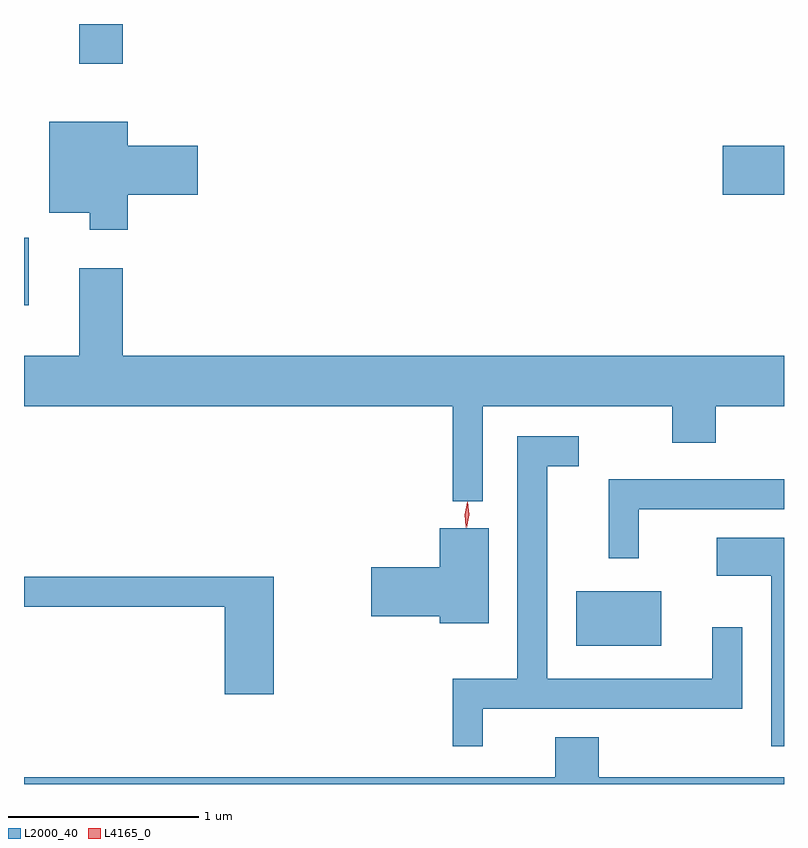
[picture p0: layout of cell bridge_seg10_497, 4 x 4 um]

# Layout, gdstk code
import gdstk
lib = gdstk.Library(unit=1e-6, precision=1e-09)
def R(c, l, rs):  # rectangles x0, y0, x1, y1
    for r in rs: c.add(gdstk.rectangle(r[:2], r[2:], *l))
def P(c, l, *ps):  # polygons
    for p in ps: c.add(gdstk.Polygon(p, *l))
L2000_40 = (2000, 40)
L4165_0 = (4165, 0)

bridge_seg10_497 = lib.new_cell('bridge_seg10_497')
R(bridge_seg10_497, L2000_40, [(931.216,2161.496,931.664,2161.784), (928.309,2163.288,928.334,2163.644), (931.986,2163.871,932.309,2164.129), (928.601,2164.561,928.829,2164.769)])
P(bridge_seg10_497, L2000_40, [(928.854,2163.871),(929.224,2163.871),(929.224,2164.129),(928.854,2164.129),(928.854,2164.254),(928.441,2164.254),(928.441,2163.776),(928.656,2163.776),(928.656,2163.686),(928.854,2163.686)],
  [(930.724,2162.756),(931.721,2162.756),(931.721,2162.566),(931.949,2162.566),(931.949,2162.756),(932.309,2162.756),(932.309,2163.024),(928.829,2163.024),(928.829,2163.484),(928.601,2163.484),(928.601,2163.024),(928.309,2163.024),(928.309,2162.756),(930.566,2162.756),(930.566,2162.258),(930.724,2162.258)],
  [(930.724,2161.166),(932.089,2161.166),(932.089,2161.593),(931.931,2161.593),(931.931,2161.324),(931.064,2161.324),(931.064,2162.441),(931.228,2162.441),(931.228,2162.599),(930.906,2162.599),(930.906,2161.324),(930.566,2161.324),(930.566,2160.968),(930.724,2160.968)],
  [(931.544,2162.216),(932.309,2162.216),(932.309,2162.374),(931.386,2162.374),(931.386,2161.958),(931.544,2161.958)],
  [(930.754,2162.114),(930.496,2162.114),(930.496,2161.909),(930.136,2161.909),(930.136,2161.651),(930.496,2161.651),(930.496,2161.616),(930.754,2161.616)],
  [(932.309,2162.064),(931.956,2162.064),(931.956,2161.866),(932.241,2161.866),(932.241,2160.968),(932.309,2160.968)],
  [(929.624,2161.859),(928.309,2161.859),(928.309,2161.701),(929.366,2161.701),(929.366,2161.241),(929.624,2161.241)],
  [(932.309,2160.804),(931.334,2160.804),(931.334,2161.014),(931.106,2161.014),(931.106,2160.804),(928.309,2160.804),(928.309,2160.769),(932.309,2160.769)])
P(bridge_seg10_497, L4165_0, [(930.639,2162.118),(930.639,2162.118),(930.632,2162.187),(930.644,2162.254),(930.645,2162.255),(930.645,2162.254),(930.652,2162.186),(930.64,2162.118)],
  [(930.634,2162.121),(930.634,2162.122),(930.629,2162.187),(930.643,2162.251),(930.644,2162.252),(930.644,2162.251),(930.649,2162.186),(930.635,2162.122)])

lib.write_gds('bridge_seg10_497.gds')
